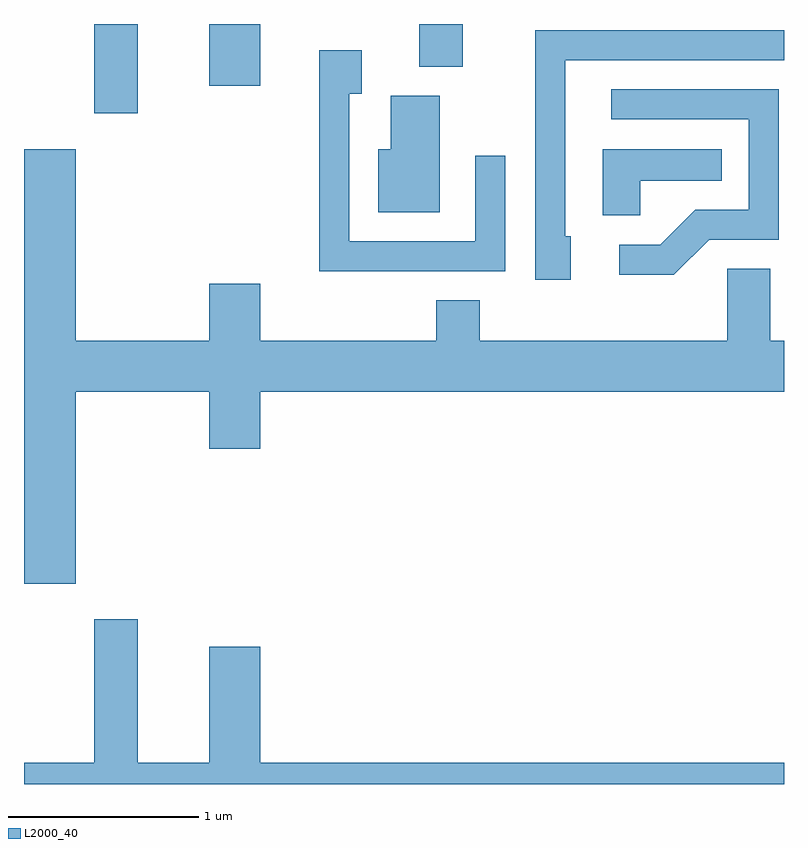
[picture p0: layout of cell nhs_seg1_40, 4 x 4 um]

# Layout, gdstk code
import gdstk
lib = gdstk.Library(unit=1e-6, precision=1e-09)
def R(c, l, rs):  # rectangles x0, y0, x1, y1
    for r in rs: c.add(gdstk.rectangle(r[:2], r[2:], *l))
def P(c, l, *ps):  # polygons
    for p in ps: c.add(gdstk.Polygon(p, *l))
L2000_40 = (2000, 40)

nhs_seg1_40 = lib.new_cell('nhs_seg1_40')
R(nhs_seg1_40, L2000_40, [(185.981,923.241,186.209,923.712), (186.586,923.386,186.854,923.712), (187.691,923.486,187.919,923.712)])
P(nhs_seg1_40, L2000_40, [(188.489,922.594),(188.459,922.594),(188.459,923.521),(189.611,923.521),(189.611,923.679),(188.301,923.679),(188.301,922.366),(188.489,922.366)],
  [(188.144,923.018),(187.986,923.018),(187.986,922.569),(187.324,922.569),(187.324,923.346),(187.389,923.346),(187.389,923.574),(187.166,923.574),(187.166,922.411),(188.144,922.411)],
  [(189.217,922.576),(189.584,922.576),(189.584,923.369),(188.703,923.369),(188.703,923.211),(189.426,923.211),(189.426,922.734),(189.144,922.734),(188.959,922.549),(188.743,922.549),(188.743,922.391),(189.032,922.391)],
  [(187.799,923.334),(187.541,923.334),(187.541,923.054),(187.476,923.054),(187.476,922.721),(187.799,922.721)],
  [(185.884,921.776),(186.586,921.776),(186.586,921.476),(186.854,921.476),(186.854,921.776),(189.611,921.776),(189.611,922.044),(189.539,922.044),(189.539,922.424),(189.311,922.424),(189.311,922.044),(188.009,922.044),(188.009,922.259),(187.781,922.259),(187.781,922.044),(186.854,922.044),(186.854,922.344),(186.586,922.344),(186.586,922.044),(185.884,922.044),(185.884,923.054),(185.611,923.054),(185.611,920.766),(185.884,920.766)],
  [(188.854,922.886),(189.283,922.886),(189.283,923.054),(188.656,923.054),(188.656,922.706),(188.854,922.706)],
  [(189.611,919.824),(186.854,919.824),(186.854,920.434),(186.586,920.434),(186.586,919.824),(186.209,919.824),(186.209,920.579),(185.981,920.579),(185.981,919.824),(185.611,919.824),(185.611,919.712),(189.611,919.712)])

lib.write_gds('nhs_seg1_40.gds')
